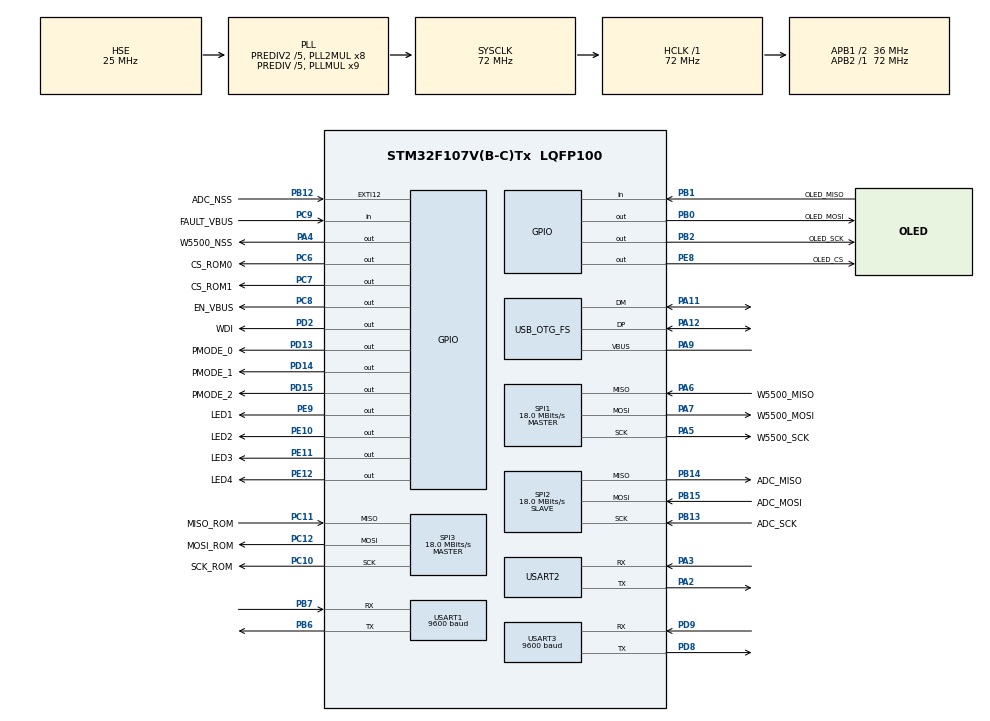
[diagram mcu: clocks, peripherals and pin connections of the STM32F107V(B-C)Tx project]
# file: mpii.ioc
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Dma.Request0=SPI2_RX
Dma.Request1=SPI1_RX
Dma.Request2=SPI1_TX
Dma.Request3=USART1_RX
Dma.SPI1_RX.1.Direction=DMA_PERIPH_TO_MEMORY
Dma.SPI1_RX.1.Instance=DMA1_Channel2
Dma.SPI1_RX.1.MemDataAlignment=DMA_MDATAALIGN_BYTE
Dma.SPI1_RX.1.MemInc=DMA_MINC_ENABLE
Dma.SPI1_RX.1.Mode=DMA_NORMAL
Dma.SPI1_RX.1.PeriphDataAlignment=DMA_PDATAALIGN_BYTE
Dma.SPI1_RX.1.PeriphInc=DMA_PINC_DISABLE
Dma.SPI1_RX.1.Priority=DMA_PRIORITY_LOW
Dma.SPI1_TX.2.Direction=DMA_MEMORY_TO_PERIPH
Dma.SPI1_TX.2.Instance=DMA1_Channel3
Dma.SPI1_TX.2.MemDataAlignment=DMA_MDATAALIGN_BYTE
Dma.SPI1_TX.2.MemInc=DMA_MINC_ENABLE
Dma.SPI1_TX.2.Mode=DMA_NORMAL
Dma.SPI1_TX.2.PeriphDataAlignment=DMA_PDATAALIGN_BYTE
Dma.SPI1_TX.2.PeriphInc=DMA_PINC_DISABLE
Dma.SPI1_TX.2.Priority=DMA_PRIORITY_LOW
Dma.SPI2_RX.0.Direction=DMA_PERIPH_TO_MEMORY
Dma.SPI2_RX.0.Instance=DMA1_Channel4
Dma.SPI2_RX.0.MemDataAlignment=DMA_MDATAALIGN_BYTE
Dma.SPI2_RX.0.MemInc=DMA_MINC_ENABLE
Dma.SPI2_RX.0.Mode=DMA_NORMAL
Dma.SPI2_RX.0.PeriphDataAlignment=DMA_PDATAALIGN_BYTE
Dma.SPI2_RX.0.PeriphInc=DMA_PINC_DISABLE
Dma.SPI2_RX.0.Priority=DMA_PRIORITY_LOW
Dma.USART1_RX.3.Direction=DMA_PERIPH_TO_MEMORY
Dma.USART1_RX.3.Instance=DMA1_Channel5
Dma.USART1_RX.3.MemDataAlignment=DMA_MDATAALIGN_BYTE
Dma.USART1_RX.3.MemInc=DMA_MINC_ENABLE
Dma.USART1_RX.3.Mode=DMA_NORMAL
Dma.USART1_RX.3.PeriphDataAlignment=DMA_PDATAALIGN_BYTE
Dma.USART1_RX.3.PeriphInc=DMA_PINC_DISABLE
Dma.USART1_RX.3.Priority=DMA_PRIORITY_LOW
FREERTOS.Tasks01=defaultTask,0,128,StartDefaultTask,Default,NULL
Mcu.Family=STM32F1
Mcu.Name=STM32F107V(B-C)Tx
Mcu.Package=LQFP100
NVIC.DMA1_Channel2_IRQn=true\:5\:0\:false\:false\:true\:true\:false
NVIC.DMA1_Channel3_IRQn=true\:5\:0\:false\:false\:true\:true\:false
NVIC.DMA1_Channel4_IRQn=true\:5\:0\:false\:false\:true\:true\:false
NVIC.DMA1_Channel5_IRQn=true\:5\:0\:false\:false\:true\:true\:false
NVIC.OTG_FS_IRQn=true\:5\:0\:false\:false\:true\:true\:false
NVIC.PriorityGroup=NVIC_PRIORITYGROUP_4
NVIC.TIM7_IRQn=true\:0\:0\:false\:false\:true\:false\:false
NVIC.TimeBase=TIM7_IRQn
NVIC.TimeBaseIP=TIM7
OSC_IN.Mode=HSE-External-Clock-Source
OSC_IN.Signal=RCC_OSC_IN
OSC_OUT.Mode=HSE-External-Clock-Source
OSC_OUT.Signal=RCC_OSC_OUT
PA11.Mode=Host_Only
PA11.Signal=USB_OTG_FS_DM
PA12.Mode=Host_Only
PA12.Signal=USB_OTG_FS_DP
PA13.Mode=Serial_Wire
PA13.Signal=SYS_JTMS-SWDIO
PA14.Mode=Serial_Wire
PA14.Signal=SYS_JTCK-SWCLK
PA2.Mode=Asynchronous
PA2.Signal=USART2_TX
PA3.Mode=Asynchronous
PA3.Signal=USART2_RX
PA4.GPIO_Label=W5500_NSS
PA4.Signal=GPIO_Output
PA5.GPIO_Label=W5500_SCK
PA5.Mode=Full_Duplex_Master
PA5.Signal=SPI1_SCK
PA6.GPIO_Label=W5500_MISO
PA6.Mode=Full_Duplex_Master
PA6.Signal=SPI1_MISO
PA7.GPIO_Label=W5500_MOSI
PA7.Mode=Full_Duplex_Master
PA7.Signal=SPI1_MOSI
PA9.Mode=Activate_VBUS
PA9.Signal=USB_OTG_FS_VBUS
PB0.GPIO_Label=OLED_MOSI
PB0.Signal=GPIO_Output
PB1.GPIO_Label=OLED_MISO
PB1.Signal=GPIO_Input
PB12.GPIO_Label=ADC_NSS
PB12.Signal=GPXTI12
PB13.GPIO_Label=ADC_SCK
PB13.Mode=Full_Duplex_Slave
PB13.Signal=SPI2_SCK
PB14.GPIO_Label=ADC_MISO
PB14.Mode=Full_Duplex_Slave
PB14.Signal=SPI2_MISO
PB15.GPIO_Label=ADC_MOSI
PB15.Mode=Full_Duplex_Slave
PB15.Signal=SPI2_MOSI
PB2.GPIO_Label=OLED_SCK
PB2.Signal=GPIO_Output
PB6.Mode=Asynchronous
PB6.Signal=USART1_TX
PB7.Mode=Asynchronous
PB7.Signal=USART1_RX
PC10.GPIO_Label=SCK_ROM
PC10.Mode=Full_Duplex_Master
PC10.Signal=SPI3_SCK
PC11.GPIO_Label=MISO_ROM
PC11.Mode=Full_Duplex_Master
PC11.Signal=SPI3_MISO
PC12.GPIO_Label=MOSI_ROM
PC12.Mode=Full_Duplex_Master
PC12.Signal=SPI3_MOSI
PC14-OSC32_IN.Mode=LSE-External-Oscillator
PC14-OSC32_IN.Signal=RCC_OSC32_IN
PC15-OSC32_OUT.Mode=LSE-External-Oscillator
PC15-OSC32_OUT.Signal=RCC_OSC32_OUT
PC6.GPIO_Label=CS_ROM0
PC6.Signal=GPIO_Output
PC7.GPIO_Label=CS_ROM1
PC7.Signal=GPIO_Output
PC8.GPIO_Label=EN_VBUS
PC8.Signal=GPIO_Output
PC9.GPIO_Label=FAULT_VBUS
PC9.Signal=GPIO_Input
PD13.GPIO_Label=PMODE_0
PD13.Signal=GPIO_Output
PD14.GPIO_Label=PMODE_1
PD14.Signal=GPIO_Output
PD15.GPIO_Label=PMODE_2
PD15.Signal=GPIO_Output
PD2.GPIO_Label=WDI
PD2.Signal=GPIO_Output
PD8.Mode=Asynchronous
PD8.Signal=USART3_TX
PD9.Mode=Asynchronous
PD9.Signal=USART3_RX
PE10.GPIO_Label=LED2
PE10.Signal=GPIO_Output
PE11.GPIO_Label=LED3
PE11.Signal=GPIO_Output
PE12.GPIO_Label=LED4
PE12.Signal=GPIO_Output
PE8.GPIO_Label=OLED_CS
PE8.Signal=GPIO_Output
PE9.GPIO_Label=LED1
PE9.Signal=GPIO_Output
ProjectManager.HeapSize=0x200
ProjectManager.StackSize=0x400
ProjectManager.TargetToolchain=TrueSTUDIO
RCC.AHBFreq_Value=72000000
RCC.APB1CLKDivider=RCC_HCLK_DIV2
RCC.APB1Freq_Value=36000000
RCC.APB1TimFreq_Value=72000000
RCC.APB2Freq_Value=72000000
RCC.APB2TimFreq_Value=72000000
RCC.HCLKFreq_Value=72000000
RCC.HSEDivPLL=RCC_HSE_PREDIV_DIV5
RCC.HSE_VALUE=25000000
RCC.PLLMUL=RCC_PLL_MUL9
RCC.Prediv1Source=RCC_PREDIV1_SOURCE_PLL2
RCC.Prediv2=RCC_HSE_PREDIV2_DIV5
RCC.SYSCLKFreq_VALUE=72000000
RCC.SYSCLKSource=RCC_SYSCLKSOURCE_PLLCLK
RCC.USBFreq_Value=48000000
SPI1.BaudRatePrescaler=SPI_BAUDRATEPRESCALER_4
SPI1.CalculateBaudRate=18.0 MBits/s
SPI1.Direction=SPI_DIRECTION_2LINES
SPI1.Mode=SPI_MODE_MASTER
SPI1.VirtualType=VM_MASTER
SPI2.CalculateBaudRate=18.0 MBits/s
SPI2.Direction=SPI_DIRECTION_2LINES
SPI2.Mode=SPI_MODE_SLAVE
SPI2.VirtualType=VM_SLAVE
SPI3.CalculateBaudRate=18.0 MBits/s
SPI3.Direction=SPI_DIRECTION_2LINES
SPI3.Mode=SPI_MODE_MASTER
SPI3.VirtualType=VM_MASTER
USART1.BaudRate=9600
USART1.VirtualMode=VM_ASYNC
USART2.VirtualMode=VM_ASYNC
USART3.BaudRate=9600
USART3.VirtualMode=VM_ASYNC
USB_HOST.BSP.number=1
USB_HOST.USBH_DEBUG_LEVEL=3
USB_HOST.USBH_HandleTypeDef=hUsbHostFS
USB_HOST.VirtualModeFS=Msc
USB_HOST0.BSP.STBoard=false
USB_HOST0.BSP.api=UnknownBspDriver
USB_HOST0.BSP.i2caddr=0
USB_HOST0.BSP.i2creg=0
USB_HOST0.BSP.instance=PC8
USB_HOST0.BSP.ip=GPIO
USB_HOST0.BSP.mode=Output
USB_HOST0.BSP.name=Drive_VBUS_FS
USB_HOST0.BSP.solution=PC8
USB_OTG_FS.VirtualMode=Host_Only
VP_FATFS_VS_USB.Mode=USB
VP_FREERTOS_VS_ENABLE.Mode=Enabled
VP_RTC_No_RTC_Output.Mode=RTC_OUT_NO
VP_RTC_VS_RTC_Activate.Mode=RTC_Enabled
VP_RTC_VS_RTC_Calendar.Mode=RTC_Calendar
VP_SYS_VS_tim7.Mode=TIM7
VP_TIM3_VS_ClockSourceINT.Mode=Internal
VP_USB_HOST_VS_USB_HOST_MSC_FS.Mode=MSC_FS
board=mpii

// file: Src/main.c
/**
 ******************************************************************************
 * @file           : main.c
 * @brief          : Main program body
 ******************************************************************************
 * This notice applies to any and all portions of this file
 * that are not between comment pairs USER CODE BEGIN and
 * USER CODE END. Other portions of this file, whether
 * inserted by the user or by software development tools
 * are owned by their respective copyright owners.
 *
 * Copyright (c) 2018 STMicroelectronics International N.V.
 * All rights reserved.
 *
 * Redistribution and use in source and binary forms, with or without
 * modification, are permitted, provided that the following conditions are met:
 *
 * 1. Redistribution of source code must retain the above copyright notice,
 *    this list of conditions and the following disclaimer.
 * 2. Redistributions in binary form must reproduce the above copyright notice,
 *    this list of conditions and the following disclaimer in the documentation
 *    and/or other materials provided with the distribution.
 * 3. Neither the name of STMicroelectronics nor the names of other
 *    contributors to this software may be used to endorse or promote products
 *    derived from this software without specific written permission.
 * 4. This software, including modifications and/or derivative works of this
 *    software, must execute solely and exclusively on microcontroller or
 *    microprocessor devices manufactured by or for STMicroelectronics.
 * 5. Redistribution and use of this software other than as permitted under
 *    this license is void and will automatically terminate your rights under
 *    this license.
 *
 * THIS SOFTWARE IS PROVIDED BY STMICROELECTRONICS AND CONTRIBUTORS "AS IS"
 * AND ANY EXPRESS, IMPLIED OR STATUTORY WARRANTIES, INCLUDING, BUT NOT
 * LIMITED TO, THE IMPLIED WARRANTIES OF MERCHANTABILITY, FITNESS FOR A
 * PARTICULAR PURPOSE AND NON-INFRINGEMENT OF THIRD PARTY INTELLECTUAL PROPERTY
 * RIGHTS ARE DISCLAIMED TO THE FULLEST EXTENT PERMITTED BY LAW. IN NO EVENT
 * SHALL STMICROELECTRONICS OR CONTRIBUTORS BE LIABLE FOR ANY DIRECT, INDIRECT,
 * INCIDENTAL, SPECIAL, EXEMPLARY, OR CONSEQUENTIAL DAMAGES (INCLUDING, BUT NOT
 * LIMITED TO, PROCUREMENT OF SUBSTITUTE GOODS OR SERVICES; LOSS OF USE, DATA,
 * OR PROFITS; OR BUSINESS INTERRUPTION) HOWEVER CAUSED AND ON ANY THEORY OF
 * LIABILITY, WHETHER IN CONTRACT, STRICT LIABILITY, OR TORT (INCLUDING
 * NEGLIGENCE OR OTHERWISE) ARISING IN ANY WAY OUT OF THE USE OF THIS SOFTWARE,
 * EVEN IF ADVISED OF THE POSSIBILITY OF SUCH DAMAGE.
 *
 ******************************************************************************
 */
#include "main.h"
#include "stm32f1xx_hal.h"
#include "cmsis_os.h"
#include "fatfs.h"
#include "usb_host.h"

/* USER CODE BEGIN Includes */
#include "shv_modbus.h"
#include <task_oled.h>
#include "spi_w5500.h"
#include "write_to_usb.h"
#include "adc_bp_struct.h"
#include "archive.h"
#include "spi_comm_madc.h"
#include "task_hr_handler.h"
/* USER CODE END Includes */

RTC_HandleTypeDef hrtc;

SPI_HandleTypeDef hspi1;
SPI_HandleTypeDef hspi2;
SPI_HandleTypeDef hspi3;
DMA_HandleTypeDef hdma_spi1_rx;
DMA_HandleTypeDef hdma_spi1_tx;
DMA_HandleTypeDef hdma_spi2_rx;

TIM_HandleTypeDef htim3;

UART_HandleTypeDef huart1;
UART_HandleTypeDef huart2;
UART_HandleTypeDef huart3;
DMA_HandleTypeDef hdma_usart1_rx;
DMA_HandleTypeDef hdma_usart2_rx;
DMA_HandleTypeDef hdma_usart3_rx;

osThreadId defaultTaskHandle;

/* USER CODE BEGIN PV */
/* Private variables ---------------------------------------------------------*/
BpDefStruct bp_struct;
/* USER CODE END PV */

void SystemClock_Config(void);
static void MX_GPIO_Init(void);
static void MX_DMA_Init(void);
static void MX_USART1_UART_Init(void);
static void MX_SPI1_Init(void);
static void MX_USART2_UART_Init(void);
static void MX_SPI2_Init(void);
static void MX_SPI3_Init(void);
static void MX_RTC_Init(void);
static void MX_USART3_UART_Init(void);
static void MX_TIM3_Init(void);
void StartDefaultTask(void const * argument);

/* USER CODE BEGIN PFP */
/* Private function prototypes -----------------------------------------------*/

/* USER CODE END PFP */

/* USER CODE BEGIN 0 */
modbus_t mb;
/* USER CODE END 0 */

int main(void)
{

	/* MCU Configuration----------------------------------------------------------*/

	/* Reset of all peripherals, Initializes the Flash interface and the Systick. */
	HAL_Init();

	/* Configure the system clock */
	SystemClock_Config();

	/* Initialize all configured peripherals */
	MX_GPIO_Init();
	MX_DMA_Init();
	MX_USART1_UART_Init();
	MX_SPI1_Init();
	MX_USART2_UART_Init();
	MX_SPI2_Init();
	MX_SPI3_Init();
	MX_RTC_Init();
	MX_USART3_UART_Init();
	MX_TIM3_Init();
	/* USER CODE BEGIN 2 */

	modbus_init_registers();

	/* USER CODE END 2 */

	/* Create the thread(s) */
	/* definition and creation of defaultTask */
	osThreadDef(defaultTask, StartDefaultTask, osPriorityNormal, 0, 512);
	defaultTaskHandle = osThreadCreate(osThread(defaultTask), NULL);

	/* USER CODE BEGIN RTOS_THREADS */
	/* add threads, ... */
	osThreadDef(oled, task_oled, osPriorityNormal, 0, 128);
	osThreadCreate(osThread(oled), NULL);

	osThreadDef(hr_handler, task_hr_handler, osPriorityNormal, 0, 128);
	osThreadCreate(osThread(hr_handler), NULL);

	archive_read_settings();

	mb.id = hr_bn_modbus_addr;

	mb.port = 502;

	mb.ip_addr.ip1 = hr_bn_ip_h >> 8;
	mb.ip_addr.ip2 = hr_bn_ip_h & 0xFF;
	mb.ip_addr.ip3 = hr_bn_ip_l >> 8;
	mb.ip_addr.ip4 = hr_bn_ip_l & 0xFF;

	mb.gw_ip_addr.ip1 = hr_bn_ipgw_h >> 8;
	mb.gw_ip_addr.ip2 = hr_bn_ipgw_h & 0xFF;
	mb.gw_ip_addr.ip3 = hr_bn_ipgw_l >> 8;;
	mb.gw_ip_addr.ip4 = hr_bn_ipgw_l & 0xFF;

	mb.netmask_addr.ip1 = hr_bn_ipnm_h >> 8;
	mb.netmask_addr.ip2 = hr_bn_ipnm_h & 0xFF;
	mb.netmask_addr.ip3 = hr_bn_ipnm_l >> 8;
	mb.netmask_addr.ip4 = hr_bn_ipnm_l & 0xFF;

	mb.dns_ip_addr.ip1 = hr_bn_ipdns_h >> 8;
	mb.dns_ip_addr.ip2 = hr_bn_ipdns_h & 0xFF;
	mb.dns_ip_addr.ip3 = hr_bn_ipdns_l >> 8;
	mb.dns_ip_addr.ip4 = hr_bn_ipdns_l & 0xFF;

	modbus_init_w5500(&mb);// Creates eth task
	init_uart(&mb);
	/* USER CODE END RTOS_THREADS */

	/* USER CODE BEGIN RTOS_QUEUES */
	/* add queues, ... */
	osMessageQDef(osqueue, 1, uint16_t);
	AppliEvent = osMessageCreate(osMessageQ(osqueue), NULL);
	/* USER CODE END RTOS_QUEUES */

	/* Start scheduler */
	osKernelStart();

	/* We should never get here as control is now taken by the scheduler */

	/* Infinite loop */
	while (1)
	{

	}

}

void SystemClock_Config(void)
{

	RCC_OscInitTypeDef RCC_OscInitStruct;
	RCC_ClkInitTypeDef RCC_ClkInitStruct;
	RCC_PeriphCLKInitTypeDef PeriphClkInit;

	/**Initializes the CPU, AHB and APB busses clocks
	 */
	RCC_OscInitStruct.OscillatorType = RCC_OSCILLATORTYPE_HSE|RCC_OSCILLATORTYPE_LSE;
	RCC_OscInitStruct.HSEState = RCC_HSE_BYPASS;
	RCC_OscInitStruct.HSEPredivValue = RCC_HSE_PREDIV_DIV5;
	RCC_OscInitStruct.LSEState = RCC_LSE_ON;
	RCC_OscInitStruct.HSIState = RCC_HSI_ON;
	RCC_OscInitStruct.Prediv1Source = RCC_PREDIV1_SOURCE_PLL2;
	RCC_OscInitStruct.PLL.PLLState = RCC_PLL_ON;
	RCC_OscInitStruct.PLL.PLLSource = RCC_PLLSOURCE_HSE;
	RCC_OscInitStruct.PLL.PLLMUL = RCC_PLL_MUL9;
	RCC_OscInitStruct.PLL2.PLL2State = RCC_PLL2_ON;
	RCC_OscInitStruct.PLL2.PLL2MUL = RCC_PLL2_MUL8;
	RCC_OscInitStruct.PLL2.HSEPrediv2Value = RCC_HSE_PREDIV2_DIV5;
	if (HAL_RCC_OscConfig(&RCC_OscInitStruct) != HAL_OK)
	{
		_Error_Handler(__FILE__, __LINE__);
	}

	/**Initializes the CPU, AHB and APB busses clocks
	 */
	RCC_ClkInitStruct.ClockType = RCC_CLOCKTYPE_HCLK|RCC_CLOCKTYPE_SYSCLK
			|RCC_CLOCKTYPE_PCLK1|RCC_CLOCKTYPE_PCLK2;
	RCC_ClkInitStruct.SYSCLKSource = RCC_SYSCLKSOURCE_PLLCLK;
	RCC_ClkInitStruct.AHBCLKDivider = RCC_SYSCLK_DIV1;
	RCC_ClkInitStruct.APB1CLKDivider = RCC_HCLK_DIV2;
	RCC_ClkInitStruct.APB2CLKDivider = RCC_HCLK_DIV1;

	if (HAL_RCC_ClockConfig(&RCC_ClkInitStruct, FLASH_LATENCY_2) != HAL_OK)
	{
		_Error_Handler(__FILE__, __LINE__);
	}

	PeriphClkInit.PeriphClockSelection = RCC_PERIPHCLK_RTC|RCC_PERIPHCLK_USB;
	PeriphClkInit.RTCClockSelection = RCC_RTCCLKSOURCE_LSE;
	PeriphClkInit.UsbClockSelection = RCC_USBCLKSOURCE_PLL_DIV3;
	if (HAL_RCCEx_PeriphCLKConfig(&PeriphClkInit) != HAL_OK)
	{
		_Error_Handler(__FILE__, __LINE__);
	}
	/**Configure the Systick interrupt time
	 */
	HAL_SYSTICK_Config(HAL_RCC_GetHCLKFreq()/1000);

	/**Configure the Systick
	 */
	HAL_SYSTICK_CLKSourceConfig(SYSTICK_CLKSOURCE_HCLK);

	/**Configure the Systick interrupt time
	 */
	__HAL_RCC_PLLI2S_ENABLE();

	/* SysTick_IRQn interrupt configuration */
	HAL_NVIC_SetPriority(SysTick_IRQn, 15, 0);
}

/* RTC init function */
static void MX_RTC_Init(void)
{

	RTC_TimeTypeDef sTime;
	RTC_DateTypeDef DateToUpdate;

	/**Initialize RTC Only
	 */
	//__HAL_RCC_BKP_CLK_ENABLE();
	//__HAL_RCC_PWR_CLK_ENABLE();

	//	__HAL_RCC_RTC_CONFIG(RCC_RTCCLKSOURCE_LSE);
	hrtc.Instance = RTC;
	//hrtc.Init.HourFormat = RTC_HOURFORMAT_24;
	//hrtc.Init.AsynchPrediv = 0x7F;
	//hrtc.Init.SynchPrediv = 0x00FF;
	//hrtc.Init.AsynchPrediv = RTC_AUTO_1_SECOND;
	//hrtc.Init.OutPut = RTC_OUTPUTSOURCE_NONE;

	if(HAL_RTCEx_BKUPRead(&hrtc, RTC_BKP_DR1) != 0x32F2){
		hrtc.Init.AsynchPrediv = RTC_AUTO_1_SECOND;
		hrtc.Init.OutPut = RTC_OUTPUTSOURCE_NONE;
		if (HAL_RTC_Init(&hrtc) != HAL_OK)
		{
			_Error_Handler(__FILE__, __LINE__);
		}

		HAL_RTCEx_BKUPWrite(&hrtc,RTC_BKP_DR1,0x32F2);
	}
	else
	{

		uint32_t dateMem = HAL_RTCEx_BKUPRead(&hrtc, RTC_BKP_DR2);

		memcpy(&DateToUpdate,&dateMem,sizeof(uint32_t));

		if (HAL_RTC_SetDate(&hrtc, &DateToUpdate, RTC_FORMAT_BCD) != HAL_OK)
		{
			_Error_Handler(__FILE__, __LINE__);
		}

		HAL_RTC_GetTime(&hrtc, &sTime, RTC_FORMAT_BIN);

	}

}

/* SPI1 init function */
static void MX_SPI1_Init(void)
{

	/* SPI1 parameter configuration*/
	hspi1.Instance = SPI1;
	hspi1.Init.Mode = SPI_MODE_MASTER;
	hspi1.Init.Direction = SPI_DIRECTION_2LINES;
	hspi1.Init.DataSize = SPI_DATASIZE_8BIT;
	hspi1.Init.CLKPolarity = SPI_POLARITY_LOW;
	hspi1.Init.CLKPhase = SPI_PHASE_1EDGE;
	hspi1.Init.NSS = SPI_NSS_SOFT;
	hspi1.Init.BaudRatePrescaler = SPI_BAUDRATEPRESCALER_4;
	hspi1.Init.FirstBit = SPI_FIRSTBIT_MSB;
	hspi1.Init.TIMode = SPI_TIMODE_DISABLE;
	hspi1.Init.CRCCalculation = SPI_CRCCALCULATION_DISABLE;
	hspi1.Init.CRCPolynomial = 10;
	if (HAL_SPI_Init(&hspi1) != HAL_OK)
	{
		_Error_Handler(__FILE__, __LINE__);
	}

}

/* SPI2 init function */
static void MX_SPI2_Init(void)
{

	/* SPI2 parameter configuration*/
	hspi2.Instance = SPI2;
	hspi2.Init.Mode = SPI_MODE_SLAVE;
	hspi2.Init.Direction = SPI_DIRECTION_2LINES;
	hspi2.Init.DataSize = SPI_DATASIZE_8BIT;
	hspi2.Init.CLKPolarity = SPI_POLARITY_LOW;
	hspi2.Init.CLKPhase = SPI_PHASE_1EDGE;
	hspi2.Init.NSS = SPI_NSS_SOFT;
	hspi2.Init.BaudRatePrescaler = SPI_BAUDRATEPRESCALER_2;
	hspi2.Init.FirstBit = SPI_FIRSTBIT_MSB;
	hspi2.Init.TIMode = SPI_TIMODE_DISABLE;
	hspi2.Init.CRCCalculation = SPI_CRCCALCULATION_DISABLE;
	hspi2.Init.CRCPolynomial = 10;
	//hspi2.hdmarx->XferCpltCallback = spi_comm_dma_irq_handler;
	if (HAL_SPI_Init(&hspi2) != HAL_OK)
	{
		_Error_Handler(__FILE__, __LINE__);
	}

}

/* SPI3 init function */
static void MX_SPI3_Init(void)
{

	/* SPI3 parameter configuration*/
	hspi3.Instance = SPI3;
	hspi3.Init.Mode = SPI_MODE_MASTER;
	hspi3.Init.Direction = SPI_DIRECTION_2LINES;
	hspi3.Init.DataSize = SPI_DATASIZE_8BIT;
	hspi3.Init.CLKPolarity = SPI_POLARITY_LOW;
	hspi3.Init.CLKPhase = SPI_PHASE_1EDGE;
	hspi3.Init.NSS = SPI_NSS_SOFT;
	hspi3.Init.BaudRatePrescaler = SPI_BAUDRATEPRESCALER_2;
	hspi3.Init.FirstBit = SPI_FIRSTBIT_MSB;
	hspi3.Init.TIMode = SPI_TIMODE_DISABLE;
	hspi3.Init.CRCCalculation = SPI_CRCCALCULATION_DISABLE;
	hspi3.Init.CRCPolynomial = 10;

	if (HAL_SPI_Init(&hspi3) != HAL_OK)
	{
		_Error_Handler(__FILE__, __LINE__);
	}

}

/* TIM3 init function */
static void MX_TIM3_Init(void)
{

	htim3.Instance = TIM3;
	htim3.Init.Prescaler = SystemCoreClock/1000;
	htim3.Init.CounterMode = TIM_COUNTERMODE_UP;
	htim3.Init.Period = 1000;
	htim3.Init.ClockDivision = TIM_CLOCKDIVISION_DIV1;
	htim3.Init.AutoReloadPreload = TIM_AUTORELOAD_PRELOAD_DISABLE;
	if (HAL_TIM_Base_Init(&htim3) != HAL_OK)
	{
		_Error_Handler(__FILE__, __LINE__);
	}
	HAL_NVIC_EnableIRQ(TIM3_IRQn);
	//	sClockSourceConfig.ClockSource = TIM_CLOCKSOURCE_INTERNAL;
	//	if (HAL_TIM_ConfigClockSource(&htim3, &sClockSourceConfig) != HAL_OK)
	//	{
	//		_Error_Handler(__FILE__, __LINE__);
	//	}
	//
	//	sMasterConfig.MasterOutputTrigger = TIM_TRGO_RESET;
	//	sMasterConfig.MasterSlaveMode = TIM_MASTERSLAVEMODE_DISABLE;
	//	if (HAL_TIMEx_MasterConfigSynchronization(&htim3, &sMasterConfig) != HAL_OK)
	//	{
	//		_Error_Handler(__FILE__, __LINE__);
	//	}

}

/* USART1 init function */
static void MX_USART1_UART_Init(void)
{

	huart1.Instance = USART1;
	huart1.Init.BaudRate = 9600;
	huart1.Init.WordLength = UART_WORDLENGTH_8B;
	huart1.Init.StopBits = UART_STOPBITS_1;
	huart1.Init.Parity = UART_PARITY_NONE;
	huart1.Init.Mode = UART_MODE_TX_RX;
	huart1.Init.HwFlowCtl = UART_HWCONTROL_NONE;
	huart1.Init.OverSampling = UART_OVERSAMPLING_16;
	if (HAL_UART_Init(&huart1) != HAL_OK)
	{
		_Error_Handler(__FILE__, __LINE__);
	}

}

/* USART2 init function */
static void MX_USART2_UART_Init(void)
{

	huart2.Instance = USART2;
	huart2.Init.BaudRate = 9600;
	huart2.Init.WordLength = UART_WORDLENGTH_8B;
	huart2.Init.StopBits = UART_STOPBITS_1;
	huart2.Init.Parity = UART_PARITY_NONE;
	huart2.Init.Mode = UART_MODE_TX_RX;
	huart2.Init.HwFlowCtl = UART_HWCONTROL_RTS;
	huart2.Init.OverSampling = UART_OVERSAMPLING_16;
	if (HAL_UART_Init(&huart2) != HAL_OK)
	{
		_Error_Handler(__FILE__, __LINE__);
	}

}

/* USART3 init function */
static void MX_USART3_UART_Init(void)
{

	huart3.Instance = USART3;
	huart3.Init.BaudRate = 9600;
	huart3.Init.WordLength = UART_WORDLENGTH_8B;
	huart3.Init.StopBits = UART_STOPBITS_1;
	huart3.Init.Parity = UART_PARITY_NONE;
	huart3.Init.Mode = UART_MODE_TX_RX;
	huart3.Init.HwFlowCtl = UART_HWCONTROL_RTS;
	huart3.Init.OverSampling = UART_OVERSAMPLING_16;
	if (HAL_UART_Init(&huart3) != HAL_OK)
	{
		_Error_Handler(__FILE__, __LINE__);
	}

}

static void MX_DMA_Init(void)
{
	/* DMA controller clock enable */
	__HAL_RCC_DMA1_CLK_ENABLE();

	/* DMA interrupt init */
	/* DMA1_Channel2_IRQn interrupt configuration */
	HAL_NVIC_SetPriority(DMA1_Channel2_IRQn, 5, 0);
	HAL_NVIC_EnableIRQ(DMA1_Channel2_IRQn);
	/* DMA1_Channel3_IRQn interrupt configuration */
	HAL_NVIC_SetPriority(DMA1_Channel3_IRQn, 5, 0);
	HAL_NVIC_EnableIRQ(DMA1_Channel3_IRQn);
	/* DMA1_Channel4_IRQn interrupt configuration */

	HAL_NVIC_SetPriority(DMA1_Channel4_IRQn, 5, 0);
	HAL_NVIC_EnableIRQ(DMA1_Channel4_IRQn);
	/* DMA1_Channel5_IRQn interrupt configuration */
	HAL_NVIC_SetPriority(DMA1_Channel5_IRQn, 5, 0);
	HAL_NVIC_EnableIRQ(DMA1_Channel5_IRQn);

}

/** Configure pins as
 * Analog
 * Input
 * Output
 * EVENT_OUT
 * EXTI
 */
static void MX_GPIO_Init(void)
{

	GPIO_InitTypeDef GPIO_InitStruct;

	/* GPIO Ports Clock Enable */
	__HAL_RCC_GPIOC_CLK_ENABLE();
	__HAL_RCC_GPIOA_CLK_ENABLE();
	__HAL_RCC_GPIOB_CLK_ENABLE();
	__HAL_RCC_GPIOE_CLK_ENABLE();
	__HAL_RCC_GPIOD_CLK_ENABLE();

	/*Configure GPIO pin Output Level */
	HAL_GPIO_WritePin(W5500_NSS_GPIO_Port, W5500_NSS_Pin, GPIO_PIN_RESET);

	/*Configure GPIO pin Output Level */
	HAL_GPIO_WritePin(GPIOB, OLED_MOSI_Pin|OLED_SCK_Pin, GPIO_PIN_RESET);

	/*Configure GPIO pin Output Level */
	HAL_GPIO_WritePin(GPIOE, OLED_CS_Pin|LED1_Pin|LED2_Pin|LED3_Pin
			|LED4_Pin, GPIO_PIN_RESET);

	/*Configure GPIO pin Output Level */
	HAL_GPIO_WritePin(GPIOD, PMODE_0_Pin|PMODE_1_Pin|PMODE_2_Pin|WDI_Pin, GPIO_PIN_RESET);

	/*Configure GPIO pin Output Level */
	HAL_GPIO_WritePin(GPIOC, CS_ROM0_Pin|CS_ROM1_Pin|EN_VBUS_Pin, GPIO_PIN_RESET);

	/*Configure GPIO pin : W5500_NSS_Pin */
	GPIO_InitStruct.Pin = W5500_NSS_Pin;
	GPIO_InitStruct.Mode = GPIO_MODE_OUTPUT_PP;
	GPIO_InitStruct.Speed = GPIO_SPEED_FREQ_LOW;
	HAL_GPIO_Init(W5500_NSS_GPIO_Port, &GPIO_InitStruct);

	/*Configure GPIO pins : OLED_MOSI_Pin OLED_SCK_Pin */
	GPIO_InitStruct.Pin = OLED_MOSI_Pin|OLED_SCK_Pin;
	GPIO_InitStruct.Mode = GPIO_MODE_OUTPUT_PP;
	GPIO_InitStruct.Speed = GPIO_SPEED_FREQ_LOW;
	HAL_GPIO_Init(GPIOB, &GPIO_InitStruct);

	/*Configure GPIO pin : OLED_MISO_Pin */
	GPIO_InitStruct.Pin = OLED_MISO_Pin;
	GPIO_InitStruct.Mode = GPIO_MODE_INPUT;
	GPIO_InitStruct.Pull = GPIO_NOPULL;
	HAL_GPIO_Init(OLED_MISO_GPIO_Port, &GPIO_InitStruct);

	/*Configure GPIO pins : OLED_CS_Pin LED1_Pin LED2_Pin LED3_Pin
                           LED4_Pin */
	GPIO_InitStruct.Pin = OLED_CS_Pin|LED1_Pin|LED2_Pin|LED3_Pin
			|LED4_Pin;
	GPIO_InitStruct.Mode = GPIO_MODE_OUTPUT_PP;
	GPIO_InitStruct.Speed = GPIO_SPEED_FREQ_LOW;
	HAL_GPIO_Init(GPIOE, &GPIO_InitStruct);

	/*Configure GPIO pin : ADC_NSS_Pin */
	GPIO_InitStruct.Pin = ADC_NSS_Pin;
	GPIO_InitStruct.Mode = GPIO_MODE_IT_FALLING;
	GPIO_InitStruct.Pull = GPIO_NOPULL;
	HAL_GPIO_Init(ADC_NSS_GPIO_Port, &GPIO_InitStruct);
	HAL_NVIC_SetPriority(EXTI15_10_IRQn, 0, 0);
	HAL_NVIC_EnableIRQ(EXTI15_10_IRQn);

	/*Configure GPIO pins : PMODE_0_Pin PMODE_1_Pin PMODE_2_Pin WDI_Pin */
	GPIO_InitStruct.Pin = PMODE_0_Pin|PMODE_1_Pin|PMODE_2_Pin|WDI_Pin;
	GPIO_InitStruct.Mode = GPIO_MODE_OUTPUT_PP;
	GPIO_InitStruct.Speed = GPIO_SPEED_FREQ_LOW;
	HAL_GPIO_Init(GPIOD, &GPIO_InitStruct);

	/*Configure GPIO pins : CS_ROM0_Pin CS_ROM1_Pin EN_VBUS_Pin */
	GPIO_InitStruct.Pin = CS_ROM0_Pin|CS_ROM1_Pin|EN_VBUS_Pin;
	GPIO_InitStruct.Mode = GPIO_MODE_OUTPUT_PP;
	GPIO_InitStruct.Speed = GPIO_SPEED_FREQ_LOW;
	HAL_GPIO_Init(GPIOC, &GPIO_InitStruct);

	/*Configure GPIO pin : FAULT_VBUS_Pin */
	GPIO_InitStruct.Pin = FAULT_VBUS_Pin;
	GPIO_InitStruct.Mode = GPIO_MODE_INPUT;
	GPIO_InitStruct.Pull = GPIO_NOPULL;
	HAL_GPIO_Init(FAULT_VBUS_GPIO_Port, &GPIO_InitStruct);

	/*Configure GPIO pin : FAULT_VBUS_Pin */
	GPIO_InitStruct.Pin = GPIO_PIN_9;
	GPIO_InitStruct.Mode = GPIO_MODE_INPUT;
	GPIO_InitStruct.Pull = GPIO_PULLDOWN;
	HAL_GPIO_Init(GPIOA, &GPIO_InitStruct);

}

/* USER CODE BEGIN 4 */
void HAL_GPIO_EXTI_Callback(uint16_t GPIO_Pin)
{
	if (GPIO_Pin == GPIO_PIN_12)
	{
		nss_interrupt_handler();
	}
}

void HAL_SPI_RxCpltCallback(SPI_HandleTypeDef *hspi)
{
	if (hspi->Instance == SPI2)
	{
		spi_comm_dma_irq_handler();
	}
}
/* USER CODE END 4 */

/* StartDefaultTask function */
void StartDefaultTask(void const * argument)
{
	osEvent event;
	/* init code for USB_HOST */
	MX_USB_HOST_Init();

	/* init code for FATFS */
	MX_FATFS_Init();

	/* USER CODE BEGIN 5 */
	/* Infinite loop */
	for (;;)
	{
		event = osMessageGet(AppliEvent, osWaitForever);

		if (event.status == osEventMessage)
		{
			switch (event.value.v)
			{
			case APPLICATION_DISCONNECT:
				Appli_state = APPLICATION_DISCONNECT;
				break;

			case APPLICATION_READY:
				Appli_state = APPLICATION_READY;
				osThreadDef(usb, usb_write_archive_task, osPriorityNormal, 0, 8128);
				osThreadCreate(osThread(usb), NULL);
				break;

			default:
				break;
			}
		}
		osDelay(1);
	}
	/* USER CODE END 5 */
}

void HAL_TIM_PeriodElapsedCallback(TIM_HandleTypeDef *htim)
{
	if (htim->Instance == TIM7) {
		HAL_IncTick();
	}
	/* USER CODE BEGIN Callback 1 */
	if (htim->Instance == TIM3)
		TIM3_Update_Handler();
	/* USER CODE END Callback 1 */
}

void _Error_Handler(char *file, int line)
{
	while(1)
	{
	}
}

/************************ (C) COPYRIGHT STMicroelectronics *****END OF FILE****/
